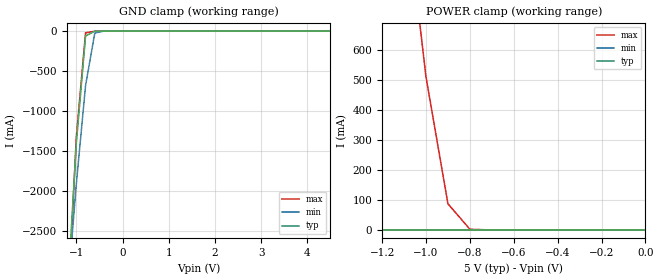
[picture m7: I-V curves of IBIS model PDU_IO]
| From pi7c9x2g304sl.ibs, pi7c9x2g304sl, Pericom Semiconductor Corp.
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|   Model PDU_IO
[Model]   PDU_IO
Model_type   Input
Polarity   Non-Inverting
Vinl =   0.80V
Vinh =   2.00V
C_comp   5.00pF   5.00pF   5.00pF
[Temperature Range]   25.00   0.12k   0.000
[Pullup Reference]   3.30V   3.00V   3.60V
[Pulldown Reference]   0.000V   0.000V   0.000V
[POWER Clamp Reference]   5.00V   4.50V   5.50V
[GND Clamp Reference]   0.000V   0.000V   0.000V
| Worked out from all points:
|   GND clamp passes 1 mA (typ) near -0.60 V on its own axis
|   POWER clamp passes 1 mA (typ) near -1.31 V on its own axis
[GND_clamp]
| voltage   I(typ)   I(min)   I(max)
-5V       -44.03A    -32.02A    -53.7A
-1.2V     -3.38A     -3.33A     -3.73A
-1V       -1.4A      -1.91A     -1.32A
-800mV    -61.51mA   -680mA     -21.84mA
-600mV    -890uA     -24.58mA   -1.59mA
-400mV    -41.62uA   -180uA     -62.74uA
5V        5.41nA     8.61nA     5.22nA
[POWER_clamp]
| voltage   I(typ)   I(min)   I(max)
-5V       13.15A     9.93uA     29.77A
-1.7V     880mA      31.74nA    5.49A
-1.6V     510mA      14.2nA     4.75A
-1.5V     140mA      12.99nA    4.01A
-1.4V     7.68mA     12.76nA    3.28A
-1.3V     180uA      12.58nA    2.54A
-1.1V     95.66nA    12.25nA    1.14A
-1V       8.35nA     12.1nA     510mA
-900mV    6.3nA      11.95nA    87.31mA
-800mV    6.14nA     11.8nA     2.31mA
0V        5.27nA     10.73nA    5.78nA
